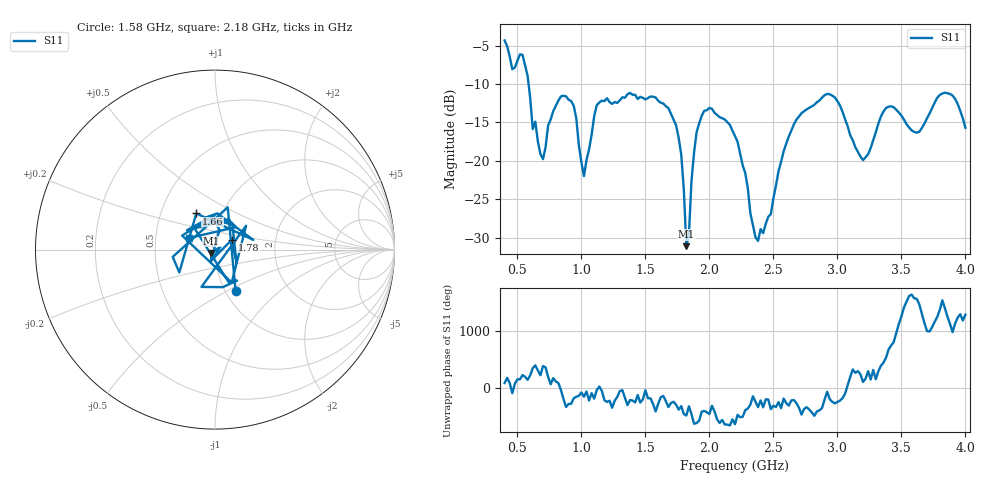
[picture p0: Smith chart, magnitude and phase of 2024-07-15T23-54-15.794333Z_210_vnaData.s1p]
!Created with skrf (http://scikit-rf.org).
# Hz S RI R 50.0
!freq ReS11 ImS11
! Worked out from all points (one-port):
!   181 points, 400 MHz to 4 GHz, reference 50 ohm
!   lowest |S11| = -31.1 dB at 1.82 GHz (marker M1), VSWR 1.06, Z = 48 - j1.85 ohm
!   |S11| at or under -10 dB: 587.2 MHz to end of sweep
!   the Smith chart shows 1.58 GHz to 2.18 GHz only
!   S11 on the Smith chart (normalised r, x): 1.58 GHz: 1.11, -0.55; 1.66 GHz: 0.75, +0.32; 1.78 GHz: 1.20, +0.14; 2.18 GHz: 0.74, +0.10
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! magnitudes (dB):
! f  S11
! 400 MHz  -4.3
! 460 MHz  -8.1
! 540 MHz  -6.2
! 620 MHz  -15.9
! 700 MHz  -19.8
! 860 MHz  -11.5
! 940 MHz  -12.8
! 1.02 GHz  -22.0
! 1.12 GHz  -12.7
! 1.3 GHz  -12.1
! 1.58 GHz  -11.7
! 1.66 GHz  -12.9
! 1.76 GHz  -17.0
! 1.78 GHz  -19.2
! 1.82 GHz  -31.1
! 1.88 GHz  -18.9
! 1.94 GHz  -14.1
! 2.18 GHz  -16.1
! 2.2 GHz  -16.8
! 2.38 GHz  -30.4
! 2.66 GHz  -15.2
! 2.94 GHz  -11.3
! 3.1 GHz  -16.6
! 3.2 GHz  -19.9
! 3.38 GHz  -13.1
! 3.56 GHz  -15.6
! 3.84 GHz  -11.1
! 4 GHz  -15.7
